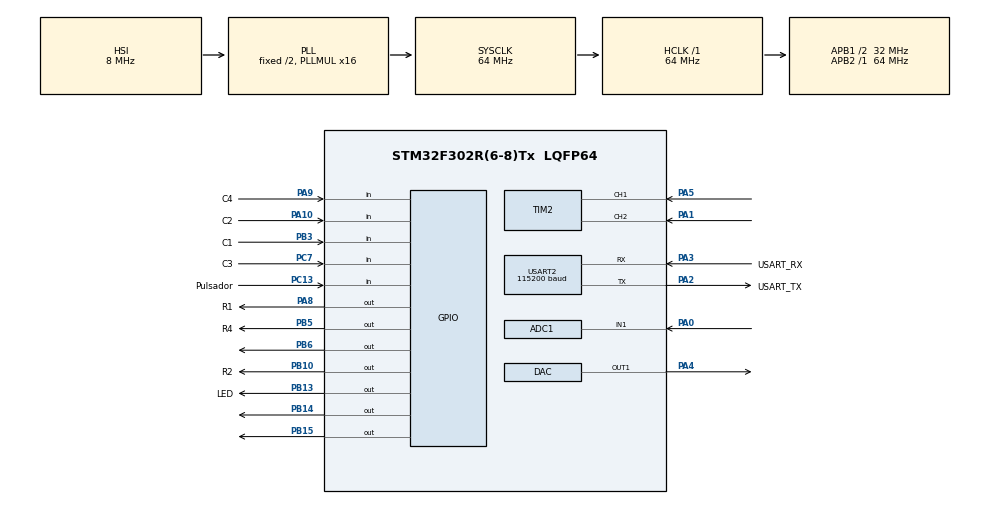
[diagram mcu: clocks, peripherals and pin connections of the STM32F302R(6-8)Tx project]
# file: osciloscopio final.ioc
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ADC1.Channel-0\#ChannelRegularConversion=ADC_CHANNEL_1
ADC1.ContinuousConvMode=ENABLE
ADC1.DMAContinuousRequests=ENABLE
ADC1.NbrOfConversionFlag=1
ADC1.Offset-0\#ChannelRegularConversion=0
ADC1.OffsetNumber-0\#ChannelRegularConversion=ADC_OFFSET_NONE
ADC1.Rank-0\#ChannelRegularConversion=1
ADC1.SamplingTime-0\#ChannelRegularConversion=ADC_SAMPLETIME_601CYCLES_5
ADC1.SamplingTimeOPAMP-0\#ChannelRegularConversion=ADC_SAMPLETIME_61CYCLES_5
ADC1.SubFamily=STM32F302x8
ADC1.master=1
DAC.DAC_Trigger=DAC_TRIGGER_T15_TRGO
Dma.ADC1.0.Direction=DMA_PERIPH_TO_MEMORY
Dma.ADC1.0.Instance=DMA1_Channel1
Dma.ADC1.0.MemDataAlignment=DMA_MDATAALIGN_WORD
Dma.ADC1.0.MemInc=DMA_MINC_ENABLE
Dma.ADC1.0.Mode=DMA_CIRCULAR
Dma.ADC1.0.PeriphDataAlignment=DMA_PDATAALIGN_WORD
Dma.ADC1.0.PeriphInc=DMA_PINC_DISABLE
Dma.ADC1.0.Priority=DMA_PRIORITY_LOW
Dma.DAC_CH1.1.Direction=DMA_MEMORY_TO_PERIPH
Dma.DAC_CH1.1.Instance=DMA1_Channel3
Dma.DAC_CH1.1.MemDataAlignment=DMA_MDATAALIGN_WORD
Dma.DAC_CH1.1.MemInc=DMA_MINC_ENABLE
Dma.DAC_CH1.1.Mode=DMA_CIRCULAR
Dma.DAC_CH1.1.PeriphDataAlignment=DMA_PDATAALIGN_WORD
Dma.DAC_CH1.1.PeriphInc=DMA_PINC_DISABLE
Dma.DAC_CH1.1.Priority=DMA_PRIORITY_LOW
Dma.Request0=ADC1
Dma.Request1=DAC_CH1
Mcu.Family=STM32F3
Mcu.Name=STM32F302R(6-8)Tx
Mcu.Package=LQFP64
NVIC.DMA1_Channel1_IRQn=true\:0\:0\:false\:false\:true\:false\:true\:true
NVIC.DMA1_Channel3_IRQn=true\:0\:0\:false\:false\:true\:false\:true\:true
NVIC.PriorityGroup=NVIC_PRIORITYGROUP_0
NVIC.TIM2_IRQn=true\:0\:0\:false\:false\:true\:true\:true\:true
NVIC.USART2_IRQn=true\:0\:0\:false\:false\:true\:true\:true\:true
PA0.Mode=IN1-Single-Ended
PA0.Signal=ADC1_IN1
PA1.Signal=S_TIM2_CH2
PA10.GPIO_Label=C2
PA10.GPIO_PuPd=GPIO_PULLUP
PA10.Signal=GPIO_Input
PA13.GPIO_Label=TMS
PA13.Mode=Serial_Wire
PA13.Signal=SYS_JTMS-SWDIO
PA14.GPIO_Label=TCK
PA14.Mode=Serial_Wire
PA14.Signal=SYS_JTCK-SWCLK
PA2.GPIO_Label=USART_TX
PA2.GPIO_Mode=GPIO_MODE_AF_PP
PA2.GPIO_PuPd=GPIO_NOPULL
PA2.GPIO_Speed=GPIO_SPEED_FREQ_LOW
PA2.Mode=Asynchronous
PA2.Signal=USART2_TX
PA3.GPIO_Label=USART_RX
PA3.GPIO_Mode=GPIO_MODE_AF_PP
PA3.GPIO_PuPd=GPIO_NOPULL
PA3.GPIO_Speed=GPIO_SPEED_FREQ_LOW
PA3.Mode=Asynchronous
PA3.Signal=USART2_RX
PA4.Signal=COMP_DAC1_group
PA5.Signal=S_TIM2_CH1_ETR
PA8.GPIO_Label=R1
PA8.Signal=GPIO_Output
PA9.GPIO_Label=C4
PA9.GPIO_PuPd=GPIO_PULLUP
PA9.Signal=GPIO_Input
PB10.GPIO_Label=R2
PB10.Signal=GPIO_Output
PB13.GPIO_Label=LED
PB13.Signal=GPIO_Output
PB14.Signal=GPIO_Output
PB15.Signal=GPIO_Output
PB3.GPIO_Label=C1
PB3.GPIO_PuPd=GPIO_PULLUP
PB3.Signal=GPIO_Input
PB5.GPIO_Label=R4
PB5.Signal=GPIO_Output
PB6.Signal=GPIO_Output
PC13.GPIO_Label=Pulsador
PC13.GPIO_PuPd=GPIO_PULLUP
PC13.Signal=GPIO_Input
PC7.GPIO_Label=C3
PC7.GPIO_PuPd=GPIO_PULLUP
PC7.Signal=GPIO_Input
PF0-OSC_IN.Mode=HSE-External-Oscillator
PF0-OSC_IN.Signal=RCC_OSC_IN
PF1-OSC_OUT.Mode=HSE-External-Oscillator
PF1-OSC_OUT.Signal=RCC_OSC_OUT
ProjectManager.HeapSize=0x200
ProjectManager.StackSize=0x400
ProjectManager.TargetToolchain=STM32CubeIDE
RCC.AHBFreq_Value=64000000
RCC.APB1CLKDivider=RCC_HCLK_DIV2
RCC.APB1Freq_Value=32000000
RCC.APB1TimFreq_Value=64000000
RCC.APB2Freq_Value=64000000
RCC.APB2TimFreq_Value=64000000
RCC.CortexFreq_Value=64000000
RCC.HCLKFreq_Value=64000000
RCC.HSE_VALUE=8000000
RCC.HSI_VALUE=8000000
RCC.LSE_VALUE=32768
RCC.PLLM=8
RCC.PLLMUL=RCC_PLL_MUL16
RCC.PLLN=336
RCC.PLLP=RCC_PLLP_DIV4
RCC.PLLQ=7
RCC.RCC_PLLsource_Clock_Source_FROM_HSE=RCC_HSE_PREDIV_DIV2
RCC.SYSCLKFreq_VALUE=64000000
RCC.SYSCLKSourceVirtual=RCC_SYSCLKSOURCE_PLLCLK
RCC.USBFreq_Value=64000000
SH.COMP_DAC1_group.0=DAC_OUT1,DAC_OUT1
SH.S_TIM2_CH1_ETR.0=TIM2_CH1,Encoder_Interface
SH.S_TIM2_CH2.0=TIM2_CH2,Encoder_Interface
TIM15.Period=100-1
TIM15.Prescaler=64-1
TIM15.TIM_MasterOutputTrigger=TIM_TRGO_UPDATE
TIM2.EncoderMode=TIM_ENCODERMODE_TI12
TIM2.IC1Polarity=TIM_ICPOLARITY_FALLING
TIM2.IC2Polarity=TIM_ICPOLARITY_FALLING
USART2.BaudRate=115200
USART2.VirtualMode-Asynchronous=VM_ASYNC
VP_TIM15_VS_ClockSourceINT.Mode=Internal
board=NUCLEO-F302R8

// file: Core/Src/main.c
/* USER CODE BEGIN Header */
/**
 ******************************************************************************
 * @file           : main.c
 * @brief          : Main program body
 ******************************************************************************
 * @attention
 *
 * Copyright (c) 2023 STMicroelectronics.
 * All rights reserved.
 *
 * This software is licensed under terms that can be found in the LICENSE file
 * in the root directory of this software component.
 * If no LICENSE file comes with this software, it is provided AS-IS.
 *
 ******************************************************************************
 */

/****************************************************************************************
 * Nombre: Angel Gabrir Segura V. 2021-0311
 *
 * Microcontroladores
 *
 * Segundo Parcial
 *
 *
 *
 ***************************************************************************************/

/* USER CODE END Header */
#include "main.h"

/* USER CODE BEGIN Includes */
#include "matriztarea1.h"
#include<math.h>
#include<stdio.h>
#include<string.h>
#include "stdbool.h"
/* USER CODE END Includes */

ADC_HandleTypeDef hadc1;
DMA_HandleTypeDef hdma_adc1;

DAC_HandleTypeDef hdac;
DMA_HandleTypeDef hdma_dac_ch1;

TIM_HandleTypeDef htim2;
TIM_HandleTypeDef htim15;

UART_HandleTypeDef huart2;

/* USER CODE BEGIN PV */
uint32_t VALOR_ADC;
char val[10];
int matris_on[8][8];
int wave = 0;
uint32_t Medida = 0;
//int VALOR_ADC;
//float cont3=0;
//int cont4=0;
/* USER CODE END PV */

void SystemClock_Config(void);
static void MX_GPIO_Init(void);
static void MX_DMA_Init(void);
static void MX_USART2_UART_Init(void);
static void MX_ADC1_Init(void);
static void MX_TIM2_Init(void);
static void MX_DAC_Init(void);
static void MX_TIM15_Init(void);

/* USER CODE BEGIN 0 */
uint32_t counter = 0;
//uint32_t counterr = 0;
int16_t count = 0;
//int16_t countt = 0;
int16_t Position_timee = 0;
int16_t Position_voltt = 0;
int16_t Position_volt = 1;
int8_t Stat;
GPIO_PinState estpul;
bool ctrl = false;
uint8_t RX1_Char = 0x00;
uint8_t MSG1[] = "OK\r\n";
uint8_t MSG3[] = "KLK\r\n";
int16_t previous_position = 0;
uint8_t MSG2[20];
//int posicion_anterior = 0;
//int velocidad = 0;
///////////////////////////nuevo//////////////////////
//#define RxBuf_SIZE 2048
//#define MainBuf_SIZE 2048

//uint8_t RxBuf[RxBuf_SIZE];
//uint8_t MainBuf[MainBuf_SIZE];

//uint16_t oldPos = 0;
//uint16_t newPos = 0;
//int isOK = 0;
//
//void HAL_UARTEx_RxEventCallback(UART_HandleTypeDef *huart, uint16_t Size) {
//	if (huart->Instance == USART2) {
//		oldPos = newPos;  // Update the last position before copying new data
//
//		/* If the data in large and it is about to exceed the buffer size, we have to route it to the start of the buffer
//		 * This is to maintain the circular buffer
//		 * The old data in the main buffer will be overlapped
//		 */
//		if (oldPos + Size > MainBuf_SIZE) // If the current position + new data size is greater than the main buffer
//		{
//			uint16_t datatocopy = MainBuf_SIZE - oldPos; // find out how much space is left in the main buffer
//			memcpy((uint8_t*) MainBuf + oldPos, RxBuf, datatocopy); // copy data in that remaining space
//
//			oldPos = 0;  // point to the start of the buffer
//			memcpy((uint8_t*) MainBuf, (uint8_t*) RxBuf + datatocopy,
//					(Size - datatocopy));  // copy the remaining data
//			newPos = (Size - datatocopy);  // update the position
//		}
//
//		/* if the current position + new data size is less than the main buffer
//		 * we will simply copy the data into the buffer and update the position
//		 */
//		else {
//			memcpy((uint8_t*) MainBuf + oldPos, RxBuf, Size);
//			newPos = Size + oldPos;
//		}
//
//		/* start the DMA again */
//		HAL_UARTEx_ReceiveToIdle_DMA(&huart2, (uint8_t*) RxBuf, RxBuf_SIZE);
//		__HAL_DMA_DISABLE_IT(&hdma_usart2_rx, DMA_IT_HT);
//
//	}
//	/******************* PROCESS (Little) THE DATA HERE*****************/
//	/* Let's say we want to check for the keyword "OK" within our incoming DATA */
//	for (int i = 0; i < Size; i++) {
//		if ((RxBuf[i] == 'O') && (RxBuf[i + 1] == 'K')) {
//			isOK = 1;
//		}
//	}
//}

void Uart() {
	//--------[ Read The Button State & Send It Via UART ]---------
	if (HAL_GPIO_ReadPin(GPIOC, GPIO_PIN_13)) {
		//HAL_UART_Transmit(&huart2, MSG2, sizeof(MSG2), 100);
		//HAL_UART_Transmit(&huart2, MSG1, sizeof(MSG1), 100);
	}

	else {
		HAL_UART_Transmit(&huart2, MSG1, sizeof(MSG1), 100);
	}
	if (HAL_GPIO_ReadPin(GPIOB, GPIO_PIN_4)) {

			//HAL_UART_Transmit(&huart2, MSG2, sizeof(MSG2), 100);
			//HAL_UART_Transmit(&huart2, MSG1, sizeof(MSG1), 100);
		}
	else {
		HAL_UART_Transmit(&huart2, MSG3, sizeof(MSG3), 100);
		}
	//--------[ Read The Received Character & Toggle LEDs Accordingly ]--------
	if (RX1_Char == '1') {
		HAL_GPIO_TogglePin(GPIOB, GPIO_PIN_13);
		HAL_UART_Receive_IT(&huart2, &RX1_Char, 1);
		RX1_Char = 0x00;

	}
	if (RX1_Char == '2') {
		HAL_GPIO_TogglePin(GPIOB, GPIO_PIN_13);
		HAL_UART_Receive_IT(&huart2, &RX1_Char, 1);
		RX1_Char = 0x00;
	}
	HAL_Delay(1);
}

/*void button() {
 estpul = HAL_GPIO_ReadPin(Pulsador_GPIO_Port, Pulsador_Pin);

 if (estpul && !ctrl) {
 ctrl = true;
 } else if (!estpul && ctrl) {
 HAL_GPIO_TogglePin(LED_GPIO_Port, LED_Pin);
 ctrl = false;
 }
 if (HAL_GPIO_ReadPin(LED_GPIO_Port, LED_Pin) == GPIO_PIN_SET) {
 Stat = 1; // Establecer Stat en 1 cuando el pin del LED está activo
 } else {
 Stat = 0; // Establecer Stat en 0 cuando el pin del LED está inactivo
 }
 }
 */
void HAL_TIM_IC_CaptureCallback(TIM_HandleTypeDef *htim) {

	counter = __HAL_TIM_GET_COUNTER(htim);

	count = (int16_t) counter;
	Position_voltt = count / 4;
	if (Position_voltt < 0) {
		Position_voltt = 0;
		__HAL_TIM_SET_COUNTER(htim, 0);

	}

	 // Verificar si Position_voltt está aumentando o disminuyendo
	 if (Position_voltt > previous_position) {
	 strcpy(MSG2, "aumentar\r\n");
	 HAL_UART_Transmit(&huart2, MSG2, sizeof(MSG2), 100);
	 } else if (Position_voltt < previous_position) {
	 strcpy(MSG2, "disminuir\r\n");
	 HAL_UART_Transmit(&huart2, MSG2, sizeof(MSG2), 100);
	 }
	 previous_position = Position_voltt;
}

//---------[ UART Data Reception Completion CallBackFunc. ]---------
void HAL_USART_RxCpltCallback(UART_HandleTypeDef *huart) {

	HAL_UART_Receive_IT(&huart2, &RX1_Char, 1);

}

/* USER CODE END 0 */

int main(void)
{

  /* MCU Configuration--------------------------------------------------------*/

  /* Reset of all peripherals, Initializes the Flash interface and the Systick. */
  HAL_Init();

  /* Configure the system clock */
  SystemClock_Config();

  /* Initialize all configured peripherals */
  MX_GPIO_Init();
  MX_DMA_Init();
  MX_USART2_UART_Init();
  MX_ADC1_Init();
  MX_TIM2_Init();
  MX_DAC_Init();
  MX_TIM15_Init();
  /* USER CODE BEGIN 2 */
	HAL_TIM_Encoder_Start_IT(&htim2, TIM_CHANNEL_ALL);
	HAL_UART_Receive_IT(&huart2, &RX1_Char, 1);
	HAL_ADC_Start_DMA(&hadc1, &VALOR_ADC, 1);
	HAL_TIM_Base_Start(&htim15);
	HAL_DAC_Start_DMA(&hdac, DAC_CHANNEL_1, &VALOR_ADC, 1, DAC_ALIGN_12B_R);
	HAL_UART_Transmit(&huart2, MSG1, sizeof(MSG1), 100);
	max_init(0x02);
	Uart();

	// Cambiar la frecuencia del temporizador TIM15 a 1000 Hz
	///////////////////////nuevo///////////////////////
	//HAL_UARTEx_ReceiveToIdle_DMA(&huart2, RxBuf, RxBuf_SIZE);
	//__HAL_DMA_DISABLE_IT(&hdma_usart2_rx, DMA_IT_HT);
	//button();

  /* USER CODE END 2 */

  /* Infinite loop */
  /* USER CODE BEGIN WHILE */
	while (1) {

		Uart();
		//	button();
		sprintf(val, "%u\n", VALOR_ADC);
		uint8_t len = strlen(val);
		HAL_UART_Transmit(&huart2, (uint8_t*) val, len, 100);

		if (Stat == 0) {

			if (VALOR_ADC > 1) {
				for (int i = 0; i < 8; i++) {
					matris_on[7][i] = 1;
				}
			}
			max_clear();
			if (VALOR_ADC >= (250 * Position_volt * 0.1)
					&& VALOR_ADC <= (720 * Position_volt * 0.1)) {
				for (int i = wave; i < 8; i++) {
					matris_on[i][0] = 1;
				}
			} else {
				matris_on[wave][0] = 0;
			}

			// Columna 2
			if (VALOR_ADC >= (1260 * Position_volt * 0.1)
					&& VALOR_ADC <= (1780 * Position_volt * 0.1)) {
				for (int i = wave; i < 8; i++) {
					matris_on[i][2] = 1;
				}
			} else {
				matris_on[wave][2] = 0;
			}

			// Columna 3
			if (VALOR_ADC >= (1780 * Position_volt * 0.1)
					&& VALOR_ADC <= (2280 * Position_volt * 0.1)) {
				for (int i = wave; i < 8; i++) {
					matris_on[i][3] = 1;
				}
			} else {
				matris_on[wave][3] = 0;
			}

			// Columna 4
			if (VALOR_ADC >= (2280 * Position_volt * 0.1)
					&& VALOR_ADC <= (2780 * Position_volt * 0.1)) {
				for (int i = wave; i < 8; i++) {
					matris_on[i][4] = 1;
				}
			} else {
				matris_on[wave][4] = 0;
			}

			// Columna 5
			if (VALOR_ADC >= (2780 * Position_volt * 0.1)
					&& VALOR_ADC <= (3280 * Position_volt * 0.1)) {
				for (int i = wave; i < 8; i++) {
					matris_on[i][5] = 1;
				}
			} else {
				matris_on[wave][5] = 0;
			}

			// Columna 6
			if (VALOR_ADC >= (3280 * Position_volt * 0.1)
					&& VALOR_ADC <= (3780 * Position_volt * 0.1)) {
				for (int i = wave; i < 8; i++) {
					matris_on[i][6] = 1;
				}
			} else {
				matris_on[wave][6] = 0;
			}

			// Columna 7
			if (VALOR_ADC >= (3780 * Position_volt * 0.1)
					&& VALOR_ADC <= (4000 * Position_volt * 0.1)) {
				for (int i = wave; i < 8; i++) {
					matris_on[i][7] = 1;
				}
			} else {
				matris_on[wave][7] = 0;
			}

			// Actualizar los LEDs en la matriz
			for (int z = 0; z < 8; z++) {
				for (int i = 0; i < 8; i++) {
					setled(i, z, matris_on[i][z]);
				}
			}

			wave++;
			HAL_Delay(30);
			if (wave > 7) {
				wave = 0;
			}
		} else if (Stat == 1) {

			if (VALOR_ADC > 1) {
				for (int i = 0; i < 8; i++) {
					matris_on[7][i] = 1;
				}
			}
			max_clear();
			if (VALOR_ADC >= (250 * 4 * 0.1) && VALOR_ADC <= (720 * 4 * 0.1)) {
				for (int i = 0; i < 8; i++) {
					matris_on[wave][i] = 1;
				}
			} else {
				for (int i = 0; i < 8; i++) {
					matris_on[wave][i] = 0;
				}
			}

			for (int z = 0; z < 8; z++) {
				for (int i = 0; i < 8; i++) {
					if (matris_on[i][z] == 1) {
						setled(i, z, 1);
					} else {
						setled(i, z, 0);
					}
				}
			}
			wave++;
			HAL_Delay(1);
			if (wave > 7) {
				wave = 0;
			}
		}
	}
}

    /* USER CODE END WHILE */

void SystemClock_Config(void)
{
  RCC_OscInitTypeDef RCC_OscInitStruct = {0};
  RCC_ClkInitTypeDef RCC_ClkInitStruct = {0};
  RCC_PeriphCLKInitTypeDef PeriphClkInit = {0};

  /** Initializes the RCC Oscillators according to the specified parameters
  * in the RCC_OscInitTypeDef structure.
  */
  RCC_OscInitStruct.OscillatorType = RCC_OSCILLATORTYPE_HSI;
  RCC_OscInitStruct.HSIState = RCC_HSI_ON;
  RCC_OscInitStruct.HSICalibrationValue = RCC_HSICALIBRATION_DEFAULT;
  RCC_OscInitStruct.PLL.PLLState = RCC_PLL_ON;
  RCC_OscInitStruct.PLL.PLLSource = RCC_PLLSOURCE_HSI;
  RCC_OscInitStruct.PLL.PLLMUL = RCC_PLL_MUL16;
  if (HAL_RCC_OscConfig(&RCC_OscInitStruct) != HAL_OK)
  {
    Error_Handler();
  }

  /** Initializes the CPU, AHB and APB buses clocks
  */
  RCC_ClkInitStruct.ClockType = RCC_CLOCKTYPE_HCLK|RCC_CLOCKTYPE_SYSCLK
                              |RCC_CLOCKTYPE_PCLK1|RCC_CLOCKTYPE_PCLK2;
  RCC_ClkInitStruct.SYSCLKSource = RCC_SYSCLKSOURCE_PLLCLK;
  RCC_ClkInitStruct.AHBCLKDivider = RCC_SYSCLK_DIV1;
  RCC_ClkInitStruct.APB1CLKDivider = RCC_HCLK_DIV2;
  RCC_ClkInitStruct.APB2CLKDivider = RCC_HCLK_DIV1;

  if (HAL_RCC_ClockConfig(&RCC_ClkInitStruct, FLASH_LATENCY_2) != HAL_OK)
  {
    Error_Handler();
  }
  PeriphClkInit.PeriphClockSelection = RCC_PERIPHCLK_TIM15|RCC_PERIPHCLK_ADC1;
  PeriphClkInit.Tim15ClockSelection = RCC_TIM15CLK_HCLK;
  PeriphClkInit.Adc1ClockSelection = RCC_ADC1PLLCLK_DIV1;

  if (HAL_RCCEx_PeriphCLKConfig(&PeriphClkInit) != HAL_OK)
  {
    Error_Handler();
  }
}

static void MX_ADC1_Init(void)
{

  ADC_ChannelConfTypeDef sConfig = {0};

  /** Common config
  */
  hadc1.Instance = ADC1;
  hadc1.Init.ClockPrescaler = ADC_CLOCK_ASYNC_DIV1;
  hadc1.Init.Resolution = ADC_RESOLUTION_12B;
  hadc1.Init.ScanConvMode = ADC_SCAN_DISABLE;
  hadc1.Init.ContinuousConvMode = ENABLE;
  hadc1.Init.DiscontinuousConvMode = DISABLE;
  hadc1.Init.ExternalTrigConvEdge = ADC_EXTERNALTRIGCONVEDGE_NONE;
  hadc1.Init.ExternalTrigConv = ADC_SOFTWARE_START;
  hadc1.Init.DataAlign = ADC_DATAALIGN_RIGHT;
  hadc1.Init.NbrOfConversion = 1;
  hadc1.Init.DMAContinuousRequests = ENABLE;
  hadc1.Init.EOCSelection = ADC_EOC_SINGLE_CONV;
  hadc1.Init.LowPowerAutoWait = DISABLE;
  hadc1.Init.Overrun = ADC_OVR_DATA_OVERWRITTEN;
  if (HAL_ADC_Init(&hadc1) != HAL_OK)
  {
    Error_Handler();
  }

  /** Configure Regular Channel
  */
  sConfig.Channel = ADC_CHANNEL_1;
  sConfig.Rank = ADC_REGULAR_RANK_1;
  sConfig.SingleDiff = ADC_SINGLE_ENDED;
  sConfig.SamplingTime = ADC_SAMPLETIME_601CYCLES_5;
  sConfig.OffsetNumber = ADC_OFFSET_NONE;
  sConfig.Offset = 0;
  if (HAL_ADC_ConfigChannel(&hadc1, &sConfig) != HAL_OK)
  {
    Error_Handler();
  }

}

static void MX_DAC_Init(void)
{

  DAC_ChannelConfTypeDef sConfig = {0};

  /** DAC Initialization
  */
  hdac.Instance = DAC;
  if (HAL_DAC_Init(&hdac) != HAL_OK)
  {
    Error_Handler();
  }

  /** DAC channel OUT1 config
  */
  sConfig.DAC_Trigger = DAC_TRIGGER_T15_TRGO;
  sConfig.DAC_OutputBuffer = DAC_OUTPUTBUFFER_ENABLE;
  if (HAL_DAC_ConfigChannel(&hdac, &sConfig, DAC_CHANNEL_1) != HAL_OK)
  {
    Error_Handler();
  }

}

static void MX_TIM2_Init(void)
{

  TIM_Encoder_InitTypeDef sConfig = {0};
  TIM_MasterConfigTypeDef sMasterConfig = {0};

  htim2.Instance = TIM2;
  htim2.Init.Prescaler = 0;
  htim2.Init.CounterMode = TIM_COUNTERMODE_UP;
  htim2.Init.Period = 4294967295;
  htim2.Init.ClockDivision = TIM_CLOCKDIVISION_DIV1;
  htim2.Init.AutoReloadPreload = TIM_AUTORELOAD_PRELOAD_DISABLE;
  sConfig.EncoderMode = TIM_ENCODERMODE_TI12;
  sConfig.IC1Polarity = TIM_ICPOLARITY_FALLING;
  sConfig.IC1Selection = TIM_ICSELECTION_DIRECTTI;
  sConfig.IC1Prescaler = TIM_ICPSC_DIV1;
  sConfig.IC1Filter = 0;
  sConfig.IC2Polarity = TIM_ICPOLARITY_FALLING;
  sConfig.IC2Selection = TIM_ICSELECTION_DIRECTTI;
  sConfig.IC2Prescaler = TIM_ICPSC_DIV1;
  sConfig.IC2Filter = 0;
  if (HAL_TIM_Encoder_Init(&htim2, &sConfig) != HAL_OK)
  {
    Error_Handler();
  }
  sMasterConfig.MasterOutputTrigger = TIM_TRGO_RESET;
  sMasterConfig.MasterSlaveMode = TIM_MASTERSLAVEMODE_DISABLE;
  if (HAL_TIMEx_MasterConfigSynchronization(&htim2, &sMasterConfig) != HAL_OK)
  {
    Error_Handler();
  }

}

static void MX_TIM15_Init(void)
{

  TIM_ClockConfigTypeDef sClockSourceConfig = {0};
  TIM_MasterConfigTypeDef sMasterConfig = {0};

  htim15.Instance = TIM15;
  htim15.Init.Prescaler = 64-1;
  htim15.Init.CounterMode = TIM_COUNTERMODE_UP;
  htim15.Init.Period = 100-1;
  htim15.Init.ClockDivision = TIM_CLOCKDIVISION_DIV1;
  htim15.Init.RepetitionCounter = 0;
  htim15.Init.AutoReloadPreload = TIM_AUTORELOAD_PRELOAD_DISABLE;
  if (HAL_TIM_Base_Init(&htim15) != HAL_OK)
  {
    Error_Handler();
  }
  sClockSourceConfig.ClockSource = TIM_CLOCKSOURCE_INTERNAL;
  if (HAL_TIM_ConfigClockSource(&htim15, &sClockSourceConfig) != HAL_OK)
  {
    Error_Handler();
  }
  sMasterConfig.MasterOutputTrigger = TIM_TRGO_UPDATE;
  sMasterConfig.MasterSlaveMode = TIM_MASTERSLAVEMODE_DISABLE;
  if (HAL_TIMEx_MasterConfigSynchronization(&htim15, &sMasterConfig) != HAL_OK)
  {
    Error_Handler();
  }

}

static void MX_USART2_UART_Init(void)
{

  huart2.Instance = USART2;
  huart2.Init.BaudRate = 115200;
  huart2.Init.WordLength = UART_WORDLENGTH_8B;
  huart2.Init.StopBits = UART_STOPBITS_1;
  huart2.Init.Parity = UART_PARITY_NONE;
  huart2.Init.Mode = UART_MODE_TX_RX;
  huart2.Init.HwFlowCtl = UART_HWCONTROL_NONE;
  huart2.Init.OverSampling = UART_OVERSAMPLING_16;
  huart2.Init.OneBitSampling = UART_ONE_BIT_SAMPLE_DISABLE;
  huart2.AdvancedInit.AdvFeatureInit = UART_ADVFEATURE_NO_INIT;
  if (HAL_UART_Init(&huart2) != HAL_OK)
  {
    Error_Handler();
  }

}

static void MX_DMA_Init(void)
{

  /* DMA controller clock enable */
  __HAL_RCC_DMA1_CLK_ENABLE();

  /* DMA interrupt init */
  /* DMA1_Channel1_IRQn interrupt configuration */
  HAL_NVIC_SetPriority(DMA1_Channel1_IRQn, 0, 0);
  HAL_NVIC_EnableIRQ(DMA1_Channel1_IRQn);
  /* DMA1_Channel3_IRQn interrupt configuration */
  HAL_NVIC_SetPriority(DMA1_Channel3_IRQn, 0, 0);
  HAL_NVIC_EnableIRQ(DMA1_Channel3_IRQn);

}

static void MX_GPIO_Init(void)
{
  GPIO_InitTypeDef GPIO_InitStruct = {0};

  /* GPIO Ports Clock Enable */
  __HAL_RCC_GPIOC_CLK_ENABLE();
  __HAL_RCC_GPIOF_CLK_ENABLE();
  __HAL_RCC_GPIOA_CLK_ENABLE();
  __HAL_RCC_GPIOB_CLK_ENABLE();

  /*Configure GPIO pin Output Level */
  HAL_GPIO_WritePin(GPIOB, R2_Pin|LED_Pin|GPIO_PIN_14|GPIO_PIN_15
                          |R4_Pin|GPIO_PIN_6, GPIO_PIN_RESET);

  /*Configure GPIO pin Output Level */
  HAL_GPIO_WritePin(R1_GPIO_Port, R1_Pin, GPIO_PIN_RESET);

  /*Configure GPIO pins : Pulsador_Pin C3_Pin */
  GPIO_InitStruct.Pin = Pulsador_Pin|C3_Pin;
  GPIO_InitStruct.Mode = GPIO_MODE_INPUT;
  GPIO_InitStruct.Pull = GPIO_PULLUP;
  HAL_GPIO_Init(GPIOC, &GPIO_InitStruct);

  /*Configure GPIO pins : R2_Pin LED_Pin PB14 PB15
                           R4_Pin PB6 */
  GPIO_InitStruct.Pin = R2_Pin|LED_Pin|GPIO_PIN_14|GPIO_PIN_15
                          |R4_Pin|GPIO_PIN_6;
  GPIO_InitStruct.Mode = GPIO_MODE_OUTPUT_PP;
  GPIO_InitStruct.Pull = GPIO_NOPULL;
  GPIO_InitStruct.Speed = GPIO_SPEED_FREQ_LOW;
  HAL_GPIO_Init(GPIOB, &GPIO_InitStruct);

  /*Configure GPIO pin : R1_Pin */
  GPIO_InitStruct.Pin = R1_Pin;
  GPIO_InitStruct.Mode = GPIO_MODE_OUTPUT_PP;
  GPIO_InitStruct.Pull = GPIO_NOPULL;
  GPIO_InitStruct.Speed = GPIO_SPEED_FREQ_LOW;
  HAL_GPIO_Init(R1_GPIO_Port, &GPIO_InitStruct);

  /*Configure GPIO pins : C4_Pin C2_Pin */
  GPIO_InitStruct.Pin = C4_Pin|C2_Pin;
  GPIO_InitStruct.Mode = GPIO_MODE_INPUT;
  GPIO_InitStruct.Pull = GPIO_PULLUP;
  HAL_GPIO_Init(GPIOA, &GPIO_InitStruct);

  /*Configure GPIO pin : C1_Pin */
  GPIO_InitStruct.Pin = C1_Pin;
  GPIO_InitStruct.Mode = GPIO_MODE_INPUT;
  GPIO_InitStruct.Pull = GPIO_PULLUP;
  HAL_GPIO_Init(C1_GPIO_Port, &GPIO_InitStruct);

}

void Error_Handler(void)
{
	__disable_irq();
	while (1) {
	}
}
